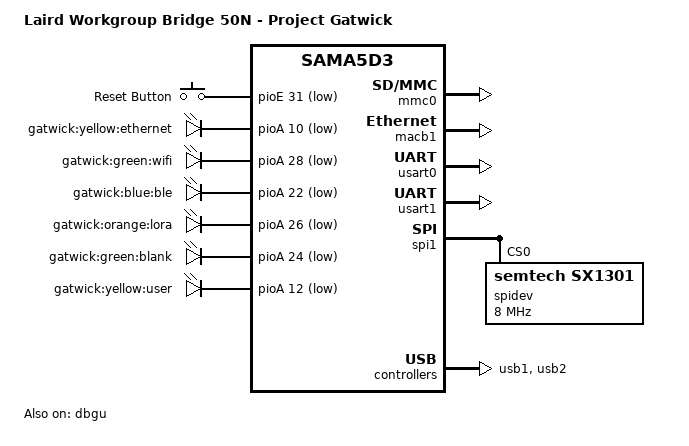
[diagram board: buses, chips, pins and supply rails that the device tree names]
// SPDX-License-Identifier: GPL-2.0
/*
 * at91-gatwick.dts - Device Tree file for the Gatwick board
 *
 *  Copyright (C) 2018 Laird
 *
 */
/dts-v1/;
#include "at91-wb50n.dtsi"
#include <dt-bindings/input/input.h>

/ {
	model = "Laird Workgroup Bridge 50N - Project Gatwick";
	compatible = "laird,gatwick", "laird,wb50n", "atmel,sama5d31", "atmel,sama5d3", "atmel,sama5";

	gpio_keys {
		compatible = "gpio-keys";
		autorepeat;

		pinctrl-names = "default";
		pinctrl-0 = <&pinctrl_key_gpio>;

		reset-button {
			label = "Reset Button";
			linux,code = <KEY_SETUP>;
			gpios = <&pioE 31 GPIO_ACTIVE_LOW>;
			wakeup-source;
		};
	};

	leds {
		compatible = "gpio-leds";

		ethernet {
			label = "gatwick:yellow:ethernet";
			gpios = <&pioA 10 GPIO_ACTIVE_LOW>;
			default-state = "off";
		};

		wifi {
			label = "gatwick:green:wifi";
			gpios = <&pioA 28 GPIO_ACTIVE_LOW>;
			default-state = "off";
		};

		ble {
			label = "gatwick:blue:ble";
			gpios = <&pioA 22 GPIO_ACTIVE_LOW>;
			default-state = "off";
		};

		lora {
			label = "gatwick:orange:lora";
			gpios = <&pioA 26 GPIO_ACTIVE_LOW>;
			default-state = "off";
		};

		blank {
			label = "gatwick:green:blank";
			gpios = <&pioA 24 GPIO_ACTIVE_LOW>;
			default-state = "off";
		};

		user {
			label = "gatwick:yellow:user";
			gpios = <&pioA 12 GPIO_ACTIVE_LOW>;
			default-state = "off";
		};
	};
};

&pinctrl {
	board {
		pinctrl_key_gpio: key_gpio_0 {
		  atmel,pins =
			  <AT91_PIOE 31 AT91_PERIPH_GPIO AT91_PINCTRL_PULL_UP_DEGLITCH>; /* PE31 GPIO with pullup deglitch */
	  };
	};
};

&mmc0 {
	status = "okay";
};

&macb1 {
	status = "okay";
};

&dbgu {
	status = "okay";
};

/* FTDI USART */
&usart0 {
	status = "okay";
};

/* GPS USART */
&usart1 {
	pinctrl-0 = <&pinctrl_usart1>;
	status = "okay";
};

&spi1 {
	status = "okay";

	spidev@0 {
		compatible = "semtech,sx1301";
		reg = <0>;
		spi-max-frequency = <8000000>;
	};
};

&usb1 {
	status = "okay";
	/delete-property/atmel,oc-gpio;
};

&usb2 {
	status = "okay";
};
